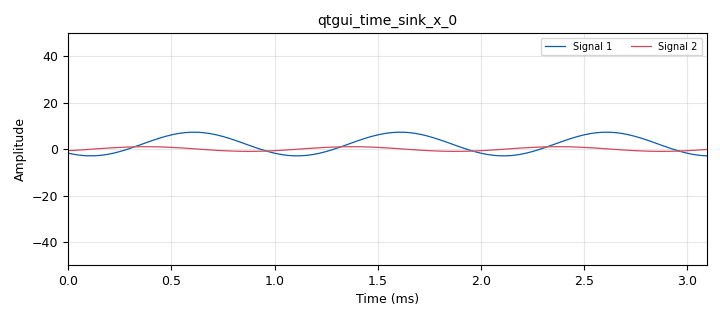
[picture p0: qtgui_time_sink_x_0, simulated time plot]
options:
  parameters:
    generate_options: qt_gui
    id: Diff
    output_language: python
    title: Not titled yet
  states: {}

blocks:
- name: samp_rate
  id: variable
  parameters:
    value: '32000'
  states: {}
- name: analog_sig_source_x_0
  id: analog_sig_source_x
  parameters:
    amp: '1'
    freq: '1000'
    offset: '0'
    phase: '0'
    samp_rate: samp_rate
    type: float
    waveform: analog.GR_SIN_WAVE
  states: {}
- name: epy_block_0
  id: epy_block
  parameters:
    _source_code: |
      import numpy as np
      from gnuradio import gr
      class blk(gr.sync_block):
          def __init__ ( self ) : # only default arguments here
              gr. sync_block . __init__ (
                  self ,
                  name ="Diferenciador", # will show up in GRC
                  in_sig =[np.float32],
                  out_sig =[np.float32])
              self.acum_anterior=0
              
          def work (self , input_items , output_items ):
              x = input_items[0] # Senial de entrada .
              y0 = output_items[0] # Senial acumulada diferencial
              N = len(x)
              diff = np.cumsum(x) - self.acum_anterior
              self.acum_anterior = diff[N-1]
              y0[:] = diff
              return len(y0)
  states: {}
- name: qtgui_time_sink_x_0
  id: qtgui_time_sink_x
  parameters:
    grid: 'True'
    nconnections: '2'
    size: '100'
    srate: samp_rate
    type: float
    ymax: '50'
    ymin: '-50'
  states: {}

connections:
- [analog_sig_source_x_0, '0', epy_block_0, '0']
- [analog_sig_source_x_0, '0', qtgui_time_sink_x_0, '1']
- [epy_block_0, '0', qtgui_time_sink_x_0, '0']

metadata:
  file_format: 1
  grc_version: 3.10.9.2
